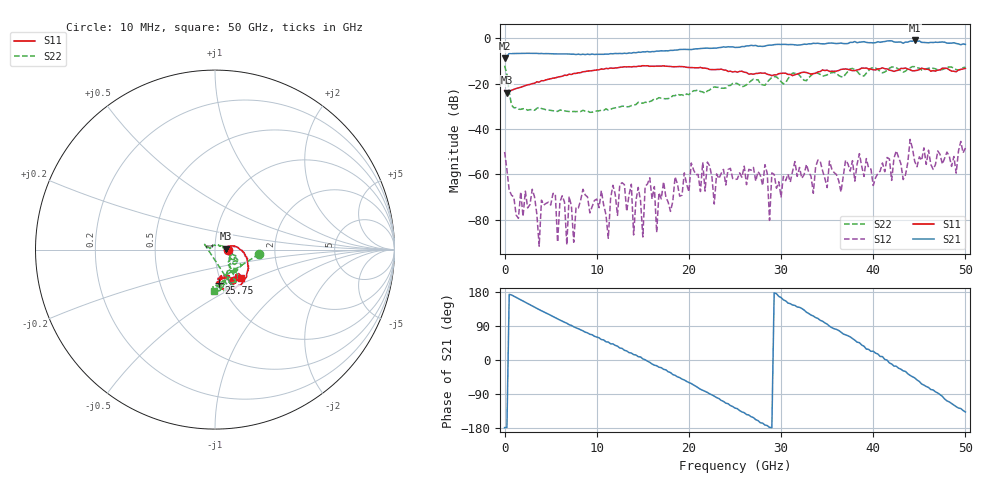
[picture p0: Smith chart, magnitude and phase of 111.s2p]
!Agilent Technologies,E8364C,MY43040239,A.09.42.22
!Agilent E8364C: A.09.42.22
!Date: Sunday, September 14, 2025 22:26:30
!Correction: S11(Full 2 Port(1,2))
!S21(Full 2 Port(1,2))
!S12(Full 2 Port(1,2))
!S22(Full 2 Port(1,2))
!S2P File: Measurements: S11, S21, S12, S22:
# Hz S  RI  R 50
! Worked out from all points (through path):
!   201 points, 10 MHz to 50 GHz, reference 50 ohm
!   highest |S21| = -1.07 dB at 44.5 GHz (marker M1); lowest = -8.9 dB at 10 MHz (marker M2)
!   lowest |S11| = -24.0 dB at 259.9 MHz (marker M3), VSWR 1.14, Z = 56.7 + j0.554 ohm
!   |S11| at or under -10 dB: start of sweep to end of sweep
!   |S22| runs from -32.7 to -12.1 dB; largest |S21 - S12| = 0.89
!   S11 on the Smith chart (normalised r, x): 10 MHz: 1.15, -0.00; 25.75 GHz: 0.97, -0.37; 50 GHz: 1.26, -0.42
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1e7  0.0697 -0.000797  -0.3576 -0.00986  -0.00302 0.000822  0.2461 -0.0248
2.5995e8  0.0631 0.00486  -0.391 -0.016  0.00103 -0.00076  0.0563 -0.1457
1.5097e9  0.0781 0.0181  -0.4387 0.1411  9.3e-05 -5.64e-05  -0.0264 0.00673
8.5083e9  0.1768 -0.0416  0.0995 0.43  -3.37e-05 0.000472  -0.00374 0.0255
1.125775e10  0.1834 -0.1077  0.2993 0.3256  3.19e-05 -2.37e-05  0.0092 0.0244
1.175765e10  0.1811 -0.118  0.3323 0.3042  0.000546 0.000193  0.0132 0.0252
1.225755e10  0.1776 -0.1324  0.3654 0.271  -5.78e-05 -0.000112  0.0173 0.0245
1.375725e10  0.1632 -0.1642  0.4414 0.1464  2.19e-05 -0.00061  0.0253 0.0207
1.40072e10  0.1589 -0.1742  0.4652 0.1182  2.14e-05 4.18e-05  0.0254 0.0223
1.675665e10  0.1106 -0.2159  0.4868 -0.1675  -0.000398 -1.31e-05  0.0455 0.0179
2.5005e10  0.0114 -0.1836  -0.3736 -0.4965  0.000748 0.00022  0.1001 -0.0219
2.575485e10  0.0217 -0.1846  -0.4751 -0.4432  0.000809 0.000314  0.0819 -0.0216
2.825435e10  0.0374 -0.1653  -0.6565 -0.0974  0.00163 -0.000197  0.0785 -0.0475
2.875425e10  0.038 -0.1509  -0.6972 -0.0249  -1.71e-05 9.65e-05  0.0967 -0.0748
2.90042e10  0.0351 -0.1448  -0.6979 -0.0208  0.00108 -8.38e-05  0.1099 -0.0825
3.35033e10  0.0708 -0.1495  -0.3366 0.6886  0.000323 -0.000213  0.1044 -0.1304
3.40032e10  0.0713 -0.1658  -0.2574 0.7232  0.00203 0.000459  0.1211 -0.116
3.65027e10  0.0926 -0.1823  0.2194 0.7434  -0.000111 -0.000397  0.0863 -0.1125
3.70026e10  0.105 -0.1811  0.3003 0.6885  0.00172 -0.00113  0.0679 -0.1457
4.175165e10  0.1055 -0.166  0.8604 -0.1148  0.000429 -0.00217  0.0526 -0.2103
4.45011e10  0.0946 -0.1664  0.601 -0.6487  -0.0019 -0.000334  0.0584 -0.2273
5e10  0.1456 -0.1578  -0.5298 -0.4921  0.00334 -0.00186  -0.00714 -0.2289
